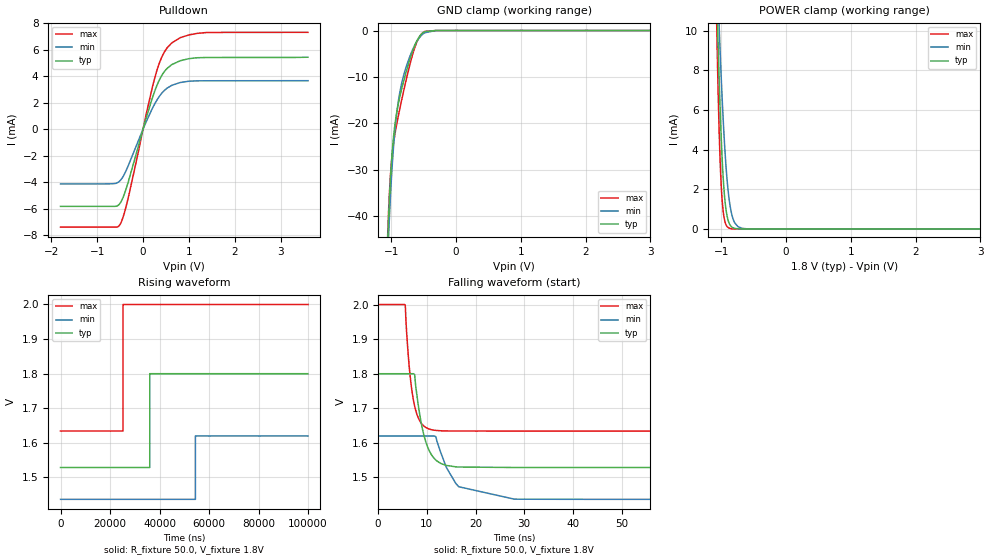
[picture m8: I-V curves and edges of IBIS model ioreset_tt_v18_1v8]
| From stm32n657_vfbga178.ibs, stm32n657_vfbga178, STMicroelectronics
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[Model]   ioreset_tt_v18_1v8
Model_type I/O_open_drain
Polarity   Inverting
Enable   Active-Low
| CAP_THRESHOLD on pad IOTT is "UDTCAPC" :
| Rising=30.0% of vddiov33m   Falling=70.0% of vddiov33m
| C_comp min and max val. don't necessarily correlate with the min and max pvt
| but are the smallest and greatest pad capacitance found.
| var   typ   min   max
C_comp   947.28500fF  934.44000fF  957.31000fF
|C_comp_pulldown   947.28500fF  934.44000fF  957.31000fF
Vinl = 810.0mV
Vinh = 1.0V
Vmeas = 900.0mV   | Reference voltage for timing measurements
Cref  = 50.0pF   | Timing specification test load capacitance value
Rref  = 1.0MOhm   | Timing specification test load resistance value
Vref  = 990.0mV   | Timing specification test load voltage
[Model Spec]
| TIME_THRESHOLD on pin ZIV18M is "CMOS" :
| Rising=50.0% of vddiov18m   Falling=50.0% of vddiov18m
Vinl 1.06270V 949.70000mV 1.30070V
Vinh 1.27830V 1.14430V 1.42630V
| variable   typ   min   max
[Temperature Range] 25.0 125.0 -40.0
| variable   typ   min   max
[Voltage Range] 1.8V 1.62V 2.0V
| variable   typ   min   max
[POWER Clamp Reference] 1.8V 1.62V 2.0V
| variable   typ   min   max
[GND Clamp Reference] 0V 0V 0V
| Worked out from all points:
|   slope of the pulldown table from 0 to 0.27 V, typ, clamps not added: 89.7 ohm
|   GND clamp passes 1 mA (typ) near -0.55 V on its own axis
|   POWER clamp passes 1 mA (typ) near -0.93 V on its own axis
|   rising waveform, R_fixture 50.0, V_fixture 1.8V: 20-80 % time 6ns typ, 6ns min, 6.01ns max; typ from 1.53 V to 1.8 V
|   falling waveform, R_fixture 50.0, V_fixture 1.8V: 20-80 % time 2.43ns typ, 3.96ns min, 1.66ns max; typ from 1.8 V to 1.53 V
[POWER Clamp]
-1.8V     154.4mA    107.2mA    224.4mA
-1.07V    12.25mA    13.82mA    10.53mA
-1.05V    9.71mA     11.92mA    7.356mA
-1.03V    7.448mA    10.14mA    4.813mA
-1.01V    5.5mA      8.482mA    2.941mA
-990mV    3.897mA    6.962mA    1.686mA
-970mV    2.647mA    5.596mA    919.8uA
-940mV    1.378mA    3.864mA    349.1uA
-880mV    312.8uA    1.572mA    46.17uA
-790mV    28.9uA     304.1uA    2.138uA
-610mV    229.1nA    8.342uA    9.987nA
3.6V      0A         0A         0A
[GND Clamp]
-1.8V     -1.229A    -1.201A    -1.245A
-1.05V    -44.57mA   -48.47mA   -42.78mA
-1.04V    -40.82mA   -44.77mA   -39.13mA
-1.03V    -37.49mA   -41.41mA   -36.03mA
-1.01V    -31.87mA   -35.52mA   -31.17mA
-970mV    -23.98mA   -26.4mA    -25.12mA
-920mV    -18.2mA    -18.65mA   -20.65mA
-870mV    -14.55mA   -13.69mA   -17.12mA
-780mV    -9.529mA   -8.391mA   -11.37mA
-650mV    -3.739mA   -3.58mA    -4.322mA
-490mV    -323uA     -554.5uA   -258.6uA
3.6V      22.23nA    360.7nA    32.85nA
| variable   typ   min   max
[Pullup Reference] 1.8V 1.62V 2.0V
| variable   typ   min   max
[Pulldown Reference] 0V 0V 0V
[Pulldown]
-1.8V     -5.824mA   -4.126mA   -7.395mA
-600mV    -5.822mA   -4.092mA   -7.395mA
-500mV    -5.588mA   -3.88mA    -7.181mA
-430mV    -5.099mA   -3.541mA   -6.581mA
-320mV    -3.954mA   -2.733mA   -5.154mA
70mV      855.1uA    572.9uA    1.142mA
280mV     3.1mA      2.064mA    4.167mA
440mV     4.23mA     2.84mA     5.67mA
630mV     4.886mA    3.319mA    6.528mA
1V        5.33mA     3.628mA    7.125mA
1.37V     5.418mA    3.661mA    7.3mA
3.6V      5.44mA     3.666mA    7.32mA
[Ramp]
dV/dt_r 167.50213mV/121.13386ps 109.86352mV/154.55199ps 221.02861mV/105.06088ps
dV/dt_f 162.63666mV/2.42392ns 109.8659mV/3.96137ns 219.44199mV/1.66216ns
R_load = 50.0
| Removed startup time: 0s 0s 0s  .
| Removed end time: 99.99us.
[Rising Waveform]
R_fixture   = 50.0
V_fixture   = 1.8V
V_fixture_min = 1.62V
V_fixture_max = 2.0V
0s        1.529V     1.437V     1.634V
25.23us   1.529V     1.437V     1.634V
25.24us   1.529V     1.437V     2V
25.25us   1.529V     1.437V     2V
36.05us   1.529V     1.437V     2V
36.06us   1.8V       1.437V     2V
54.49us   1.8V       1.437V     2V
54.5us    1.8V       1.62V      2V
54.51us   1.8V       1.62V      2V
99.99us   1.8V       1.62V      2V
| Removed startup time: 0s 0s 0s  .
| Removed end time: 599.95ns.
[Falling Waveform]
R_fixture   = 50.0
V_fixture   = 1.8V
V_fixture_min = 1.62V
V_fixture_max = 2.0V
0s        1.8V       1.62V      2V
5.55ns    1.8V       1.62V      1.998V
6.5ns     1.8V       1.62V      1.802V
7.75ns    1.76V      1.62V      1.692V
9.75ns    1.604V     1.62V      1.645V
11.8ns    1.551V     1.618V     1.636V
12.8ns    1.541V     1.574V     1.635V
16.55ns   1.53V      1.473V     1.634V
27.95ns   1.529V     1.437V     1.634V
600ns     1.529V     1.437V     1.634V
